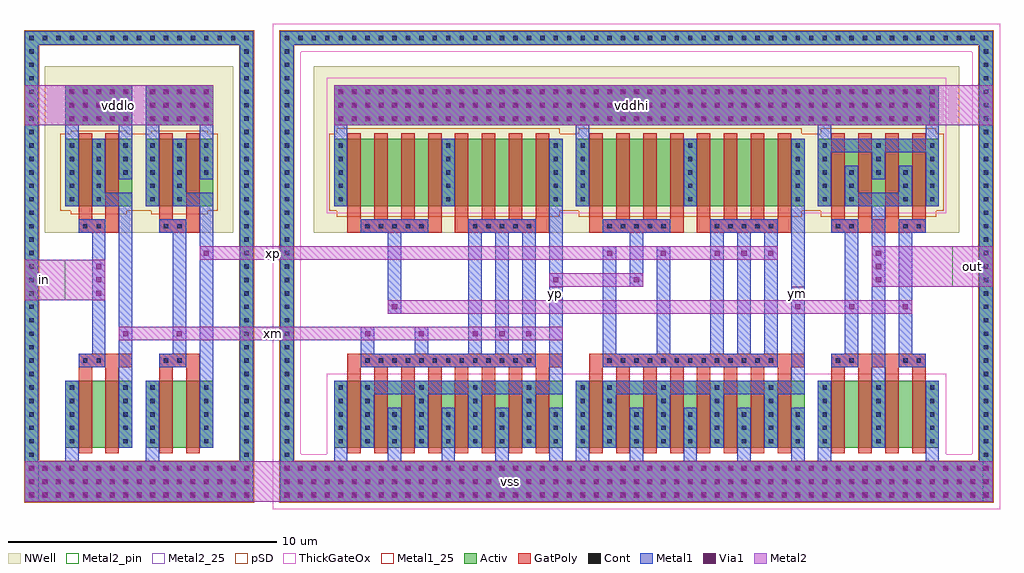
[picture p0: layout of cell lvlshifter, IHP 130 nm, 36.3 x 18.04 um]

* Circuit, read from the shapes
.subckt lvlshifter in out vddhi vddlo vss xm xp ym yp
XM1 n1 in vss vss sg13_lv_nmos w=2.5u l=0.5u
XM2 xm in n1 vss sg13_lv_nmos w=2.5u l=0.5u
XM3 n2 xm vss vss sg13_lv_nmos w=2.5u l=0.5u
XM4 xp xm n2 vss sg13_lv_nmos w=2.5u l=0.5u
XM5 yp xm vss vss sg13_hv_nmos w=2.5u l=0.5u m=8
XM6 ym xp vss vss sg13_hv_nmos w=2.5u l=0.5u m=8
XM7 n3 ym vss vss sg13_hv_nmos w=2.5u l=0.5u
XM8 out ym n3 vss sg13_hv_nmos w=2.5u l=0.5u
XM9 n4 ym out vss sg13_hv_nmos w=2.5u l=0.5u
XM10 vss ym n4 vss sg13_hv_nmos w=2.5u l=0.5u
XM11 xm in vddlo vddlo sg13_lv_pmos w=2.5u l=0.5u m=2
XM12 xp xm vddlo vddlo sg13_lv_pmos w=2.5u l=0.5u m=2
XM13 n5 ym vddhi vddhi sg13_hv_pmos w=2.5u l=0.5u
XM14 n6 ym n5 vddhi sg13_hv_pmos w=2.5u l=0.5u
XM15 n7 ym n6 vddhi sg13_hv_pmos w=2.5u l=0.5u
XM16 n8 ym n7 vddhi sg13_hv_pmos w=2.5u l=0.5u
XM17 n9 xm n8 vddhi sg13_hv_pmos w=2.5u l=0.5u
XM18 n10 xm n9 vddhi sg13_hv_pmos w=2.5u l=0.5u
XM19 n11 xm n10 vddhi sg13_hv_pmos w=2.5u l=0.5u
XM20 yp xm n11 vddhi sg13_hv_pmos w=2.5u l=0.5u
XM21 n12 yp vddhi vddhi sg13_hv_pmos w=2.5u l=0.5u
XM22 n13 yp n12 vddhi sg13_hv_pmos w=2.5u l=0.5u
XM23 n14 yp n13 vddhi sg13_hv_pmos w=2.5u l=0.5u
XM24 n15 yp n14 vddhi sg13_hv_pmos w=2.5u l=0.5u
XM25 n16 xp n15 vddhi sg13_hv_pmos w=2.5u l=0.5u
XM26 n17 xp n16 vddhi sg13_hv_pmos w=2.5u l=0.5u
XM27 n18 xp n17 vddhi sg13_hv_pmos w=2.5u l=0.5u
XM28 ym xp n18 vddhi sg13_hv_pmos w=2.5u l=0.5u
XM29 out ym vddhi vddhi sg13_hv_pmos w=2.5u l=0.5u m=4
.ends

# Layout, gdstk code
import gdstk
lib = gdstk.Library(unit=1e-6, precision=1e-09)
def R(c, l, rs):  # rectangles x0, y0, x1, y1
    for r in rs: c.add(gdstk.rectangle(r[:2], r[2:], *l))
def A(c, l, x, y, w, h, nx, ny, dx, dy):  # array of equal rectangles
    R(c, l, [(x+i*dx, y+j*dy, x+i*dx+w, y+j*dy+h) for i in range(nx) for j in range(ny)])
Activ = (1, 0)
GatPoly = (5, 0)
Cont = (6, 0)
Metal1 = (8, 0)
Metal1_25 = (8, 25)
Metal2 = (10, 0)
Metal2_pin = (10, 2)
Metal2_25 = (10, 25)
pSD = (14, 0)
Via1 = (19, 0)
NWell = (31, 0)
ThickGateOx = (44, 0)

lvlshifter = lib.new_cell('lvlshifter')
R(lvlshifter, Activ, [(-5,-6.5,3.5,-5), (4.5,-6.5,31,-5), (-5,-5,-4.5,10.5), (3,-5,3.5,10.5), (4.5,-5,5,10.5), (30.5,-5,31,10.5), (-3.5,-4.5,-1,-2), (-0.5,-4.5,2,-2), (6.5,-4.5,15,-2), (15.5,-4.5,24,-2), (24.5,-4.5,29,-2), (-3.5,4.5,-1,7), (-0.5,4.5,2,7), (6.5,4.5,15,7), (15.5,4.5,24,7), (24.5,4.5,29,7), (-3.5,7.5,-1,9), (-0.5,7.5,2,9), (6.5,7.5,29,9), (-5,10.5,3.5,11), (4.5,10.5,31,11)])
A(lvlshifter, GatPoly, 7, -4.7, 0.5, 3.2, 8, 2, 1, 8.7)
A(lvlshifter, GatPoly, 16, -4.7, 0.5, 3.2, 8, 2, 1, 8.7)
A(lvlshifter, GatPoly, 25, -4.7, 0.5, 3.2, 4, 2, 1, 8.7)
R(lvlshifter, GatPoly, [(-3,-4.7,-2.5,-1.5), (-2,-4.7,-1.5,-1.5), (0,-4.7,0.5,-1.5), (1,-4.7,1.5,-1.5), (-3,-1.5,-1,-1), (0,-1.5,1.5,-1), (7,-1.5,15,-1), (16,-1.5,24,-1), (25,-1.5,28.5,-1), (-3,3.5,-1.5,4), (0,3.5,1.5,4), (7,3.5,10.5,4), (11,3.5,14.5,4), (16,3.5,19.5,4), (20,3.5,23.5,4), (25,3.5,28.5,4), (-3,4,-2.5,7.2), (-2,4,-1.5,7.2), (0,4,0.5,7.2), (1,4,1.5,7.2)])
A(lvlshifter, Cont, -4.83, -6.33, 0.16, 0.16, 17, 3, 0.5, 0.5)
A(lvlshifter, Cont, 4.67, -6.33, 0.16, 0.16, 53, 3, 0.5, 0.5)
A(lvlshifter, Cont, -4.83, -4.83, 0.16, 0.16, 1, 31, 0, 0.5)
A(lvlshifter, Cont, -3.33, -4.33, 0.16, 0.16, 1, 5, 0, 0.5)
A(lvlshifter, Cont, -1.33, -4.33, 0.16, 0.16, 1, 5, 0, 0.5)
A(lvlshifter, Cont, -0.33, -4.33, 0.16, 0.16, 1, 5, 0, 0.5)
A(lvlshifter, Cont, 1.67, -4.33, 0.16, 0.16, 3, 5, 1.5, 0.5)
A(lvlshifter, Cont, 6.67, -4.33, 0.16, 0.16, 19, 3, 1, 0.5)
A(lvlshifter, Cont, 26.67, -4.33, 0.16, 0.16, 3, 3, 2, 0.5)
A(lvlshifter, Cont, 7.67, -2.83, 0.16, 0.16, 5, 2, 2, 0.5)
A(lvlshifter, Cont, 16.67, -2.83, 0.16, 0.16, 8, 2, 2, 0.5)
A(lvlshifter, Cont, 3.17, -1.83, 0.16, 0.16, 1, 25, 0, 0.5)
A(lvlshifter, Cont, 4.67, -1.83, 0.16, 0.16, 1, 25, 0, 0.5)
A(lvlshifter, Cont, 30.67, -1.83, 0.16, 0.16, 1, 16, 0, 0.5)
A(lvlshifter, Cont, 7.67, -1.33, 0.16, 0.16, 13, 1, 0.5, 0)
A(lvlshifter, Cont, 16.67, -1.33, 0.16, 0.16, 13, 1, 0.5, 0)
A(lvlshifter, Cont, 7.67, 3.67, 0.16, 0.16, 5, 1, 0.5, 0)
A(lvlshifter, Cont, 11.67, 3.67, 0.16, 0.16, 5, 1, 0.5, 0)
A(lvlshifter, Cont, 16.67, 3.67, 0.16, 0.16, 5, 1, 0.5, 0)
A(lvlshifter, Cont, 20.67, 3.67, 0.16, 0.16, 5, 1, 0.5, 0)
A(lvlshifter, Cont, 6.67, 4.67, 0.16, 0.16, 3, 5, 4, 0.5)
A(lvlshifter, Cont, 15.67, 4.67, 0.16, 0.16, 3, 5, 4, 0.5)
A(lvlshifter, Cont, -3.33, 5.67, 0.16, 0.16, 6, 3, 1, 0.5)
A(lvlshifter, Cont, 24.67, 5.67, 0.16, 0.16, 5, 1, 1, 0)
A(lvlshifter, Cont, 24.67, 6.17, 0.16, 0.16, 4, 2, 2, 0.5)
A(lvlshifter, Cont, 30.67, 7.17, 0.16, 0.16, 1, 7, 0, 0.5)
A(lvlshifter, Cont, -3.33, 7.67, 0.16, 0.16, 5, 3, 0.5, 0.5)
A(lvlshifter, Cont, -0.33, 7.67, 0.16, 0.16, 5, 3, 0.5, 0.5)
A(lvlshifter, Cont, 6.67, 7.67, 0.16, 0.16, 45, 3, 0.5, 0.5)
A(lvlshifter, Cont, -4.83, 10.67, 0.16, 0.16, 17, 1, 0.5, 0)
A(lvlshifter, Cont, 4.67, 10.67, 0.16, 0.16, 53, 1, 0.5, 0)
R(lvlshifter, Cont, [(3.17,-4.83,3.33,-4.67), (4.67,-4.83,4.83,-4.67), (30.67,-4.83,30.83,-4.67), (6.67,-2.83,6.83,-2.67), (6.67,-2.33,6.83,-2.17), (-2.83,-1.33,-2.67,-1.17), (-2.33,-1.33,-2.17,-1.17), (0.17,-1.33,0.33,-1.17), (0.67,-1.33,0.83,-1.17), (25.17,-1.33,25.33,-1.17), (25.67,-1.33,25.83,-1.17), (27.67,-1.33,27.83,-1.17), (28.17,-1.33,28.33,-1.17), (-2.83,3.67,-2.67,3.83), (-2.33,3.67,-2.17,3.83), (0.17,3.67,0.33,3.83), (0.67,3.67,0.83,3.83), (25.17,3.67,25.33,3.83), (25.67,3.67,25.83,3.83), (27.67,3.67,27.83,3.83), (28.17,3.67,28.33,3.83), (-3.33,4.67,-3.17,4.83), (-2.33,4.67,-2.17,4.83), (-0.33,4.67,-0.17,4.83), (0.67,4.67,0.83,4.83), (24.67,4.67,24.83,4.83), (25.67,4.67,25.83,4.83), (27.67,4.67,27.83,4.83), (28.67,4.67,28.83,4.83), (-3.33,5.17,-3.17,5.33), (-2.33,5.17,-2.17,5.33), (-0.33,5.17,-0.17,5.33), (0.67,5.17,0.83,5.33), (24.67,5.17,24.83,5.33), (25.67,5.17,25.83,5.33), (27.67,5.17,27.83,5.33), (28.67,5.17,28.83,5.33)])
A(lvlshifter, Metal1, 6.5, -5, 0.5, 3, 3, 1, 9, 0)
A(lvlshifter, Metal1, 8.5, -5, 0.5, 2, 4, 1, 2, 0)
A(lvlshifter, Metal1, 17.5, -5, 0.5, 2, 4, 1, 2, 0)
A(lvlshifter, Metal1, 7.5, -4.5, 0.5, 2, 4, 1, 2, 0)
A(lvlshifter, Metal1, 16.5, -4.5, 0.5, 2, 4, 1, 2, 0)
A(lvlshifter, Metal1, 11.5, -1, 0.5, 4.5, 3, 1, 1, 0)
A(lvlshifter, Metal1, 20.5, -1, 0.5, 4.5, 3, 1, 1, 0)
R(lvlshifter, Metal1, [(-5,-6.5,3.5,-5), (4.5,-6.5,31,-5), (-5,-5,-4.5,10.5), (-3.5,-5,-3,-2), (-0.5,-5,0,-2), (3,-5,3.5,10.5), (4.5,-5,5,10.5), (28.5,-5,29,-2), (30.5,-5,31,10.5), (-1.5,-4.5,-1,4.5), (1.5,-4.5,2,4.5), (26.5,-4.5,27,4.5), (7.5,-2.5,15,-2), (16.5,-2.5,24,-2), (14.5,-2,15,7), (23.5,-2,24,7), (-3,-1.5,-2,-1), (0,-1.5,1,-1), (7.5,-1.5,14,-1), (16.5,-1.5,23,-1), (25,-1.5,26,-1), (27.5,-1.5,28.5,-1), (-2.5,-1,-2,3.5), (0.5,-1,1,3.5), (7.5,-1,8,0), (9.5,-1,10,0), (16.5,-1,17,3), (18.5,-1,19,3), (25.5,-1,26,3.5), (27.5,-1,28,3.5), (8.5,0.5,9,3.5), (17.5,1.5,18,3.5), (-3,3.5,-2,4), (0,3.5,1,4), (7.5,3.5,10,4), (11.5,3.5,14,4), (16.5,3.5,19,4), (20.5,3.5,23,4), (25,3.5,26,4), (27.5,3.5,28.5,4), (-3.5,4.5,-3,7.5), (-2.5,4.5,-1,5), (-0.5,4.5,0,7.5), (0.5,4.5,2,5), (6.5,4.5,7,7.5), (10.5,4.5,11,7), (15.5,4.5,16,7.5), (19.5,4.5,20,7), (24.5,4.5,25,6.5), (25.5,4.5,28,5), (28.5,4.5,29,6.5), (-2.5,5,-2,7), (0.5,5,1,7), (25.5,5,26,6), (27.5,5,28,6), (-1.5,5.5,-1,7.5), (1.5,5.5,2,7.5), (26.5,5.5,27,6.5), (24.5,6.5,29,7), (24.5,7,25,7.5), (28.5,7,29,7.5), (-3.5,7.5,-1,9), (-0.5,7.5,2,9), (6.5,7.5,29,9), (-5,10.5,3.5,11), (4.5,10.5,31,11)])
R(lvlshifter, Metal1_25, [(14.5,1,15,1.5), (23.5,1,24,1.5)])
R(lvlshifter, Metal2, [(-5,-6.5,31,-5), (-1.5,-0.5,15,0), (8.5,0.5,28,1), (-5,1,-2,2.5), (14.5,1.5,18,2), (26.5,1.5,31,3), (1.5,2.5,23,3), (-5,7.5,2,9), (6.5,7.5,31,9)])
R(lvlshifter, Metal2_pin, [(-4.5,-6.5,30.65,-5), (-5,1,-3.5,2.5), (29.5,1.5,31,3), (-5,7.5,2,9), (6.5,7.5,28.65,9)])
R(lvlshifter, Metal2_25, [(4,-0.5,4.5,0), (4,2.5,4.5,3)])
R(lvlshifter, pSD, [(-5.03,-6.53,3.53,-4.97), (4.47,-6.53,31.03,-4.97), (-5.03,-4.97,-4.47,10.47), (2.97,-4.97,3.53,10.47), (4.47,-4.97,5.03,10.47), (30.47,-4.97,31.03,10.47), (6.6,4.1,14.9,4.32), (15.6,4.1,23.9,4.32), (24.6,4.1,28.9,4.32), (-3.3,4.2,-1.2,4.32), (-0.3,4.2,1.8,4.32), (-3.68,4.32,2.18,7.18), (6.32,4.32,29.18,7.18), (-3.3,7.18,-1.2,7.3), (-0.3,7.18,1.8,7.3), (6.6,7.18,14.9,7.4), (15.6,7.18,23.9,7.4), (24.6,7.18,28.9,7.4), (-5.03,10.47,3.53,11.03), (4.47,10.47,31.03,11.03)])
A(lvlshifter, Via1, -4.845, -6.345, 0.19, 0.19, 17, 3, 0.5, 0.5)
A(lvlshifter, Via1, 4.655, -6.345, 0.19, 0.19, 53, 3, 0.5, 0.5)
A(lvlshifter, Via1, 7.655, -0.345, 0.19, 0.19, 3, 1, 2, 0)
A(lvlshifter, Via1, 23.655, 0.655, 0.19, 0.19, 3, 1, 2, 0)
A(lvlshifter, Via1, -2.345, 1.155, 0.19, 0.19, 1, 3, 0, 0.5)
A(lvlshifter, Via1, 26.655, 1.655, 0.19, 0.19, 1, 3, 0, 0.5)
A(lvlshifter, Via1, 16.655, 2.655, 0.19, 0.19, 3, 1, 2, 0)
A(lvlshifter, Via1, -3.345, 7.655, 0.19, 0.19, 5, 3, 0.5, 0.5)
A(lvlshifter, Via1, -0.345, 7.655, 0.19, 0.19, 5, 3, 0.5, 0.5)
A(lvlshifter, Via1, 6.655, 7.655, 0.19, 0.19, 45, 3, 0.5, 0.5)
R(lvlshifter, Via1, [(-1.345,-0.345,-1.155,-0.155), (0.655,-0.345,0.845,-0.155), (12.655,-0.345,12.845,-0.155), (13.655,-0.345,13.845,-0.155), (8.655,0.655,8.845,0.845), (14.655,1.655,14.845,1.845), (17.655,1.655,17.845,1.845), (1.655,2.655,1.845,2.845), (21.655,2.655,21.845,2.845), (22.655,2.655,22.845,2.845)])
R(lvlshifter, NWell, [(-4.25,3.5,2.75,9.7), (5.75,3.5,29.75,9.7)])
R(lvlshifter, ThickGateOx, [(4.23,-6.77,31.27,-4.73), (4.23,-4.73,5.27,10.23), (6.23,-4.73,29.27,-1.73), (30.23,-4.73,31.27,10.23), (6.23,4.23,29.27,9.27), (4.23,10.23,31.27,11.27)])
lvlshifter.add(gdstk.Label('xm', (4.25,-0.25), layer=10, texttype=25))
lvlshifter.add(gdstk.Label('xp', (4.25,2.75), layer=10, texttype=25))
lvlshifter.add(gdstk.Label('yp', (14.75,1.25), layer=8, texttype=25))
lvlshifter.add(gdstk.Label('ym', (23.75,1.25), layer=8, texttype=25))
lvlshifter.add(gdstk.Label('in', (-4.25,1.75), layer=10, texttype=25))
lvlshifter.add(gdstk.Label('out', (30.25,2.25), layer=10, texttype=25))
lvlshifter.add(gdstk.Label('vddlo', (-1.5,8.25), layer=10, texttype=25))
lvlshifter.add(gdstk.Label('vddhi', (17.575,8.25), layer=10, texttype=25))
lvlshifter.add(gdstk.Label('vss', (13.075,-5.75), layer=10, texttype=25))

lib.write_gds('lvlshifter.gds')
